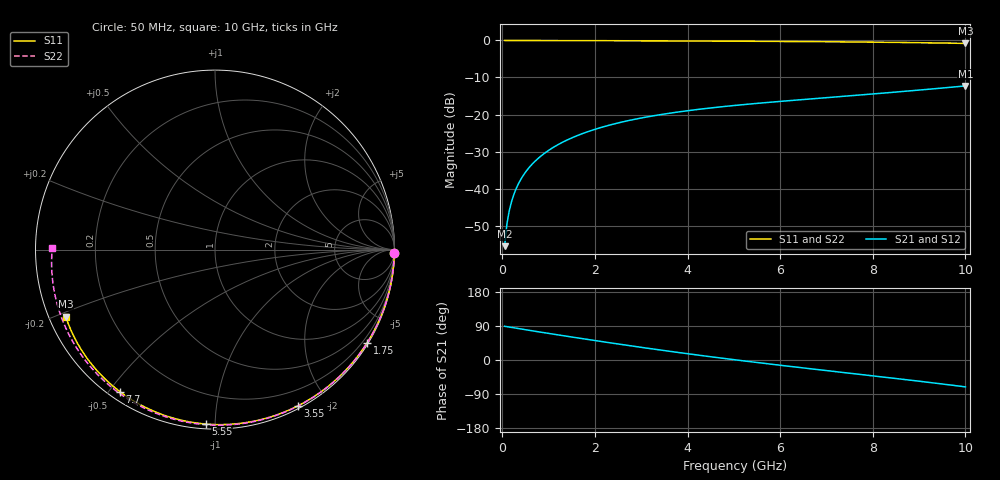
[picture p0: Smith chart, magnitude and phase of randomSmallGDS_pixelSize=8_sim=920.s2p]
! freq	dB(S11)	phase(S11)	dB(S12)	phase(S12)
!  dB(S21)	phase(S21)	dB(S22)	phase(S22)
!S-par simulation data
#  GHz  S  DB  R 50
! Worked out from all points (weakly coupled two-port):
!   200 points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, 50 MHz to 10 GHz, reference 50 ohm
!   highest |S21| = -12.27 dB at 10 GHz (marker M1); lowest = -55.5 dB at 50 MHz (marker M2)
!   lowest |S11| = -0.8 dB at 10 GHz (marker M3), VSWR 21.63, Z = 2.42 - j10.7 ohm
!   |S11| at or under -10 dB: nowhere
!   |S22| runs from -0.9 to 0.0 dB; largest |S21 - S12| = 0
!   S11 on the Smith chart (normalised r, x): 50 MHz: open; 1.75 GHz: 0.04, -3.55; 3.55 GHz: 0.03, -1.66; 5.55 GHz: 0.03, -0.95; 7.7 GHz: 0.03, -0.53; 10 GHz: 0.05, -0.21
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0.05  -0.01 -0.9  -55.50 89.0  -55.50 89.0  -0.01 -1.1
0.1  -0.01 -1.8  -49.49 88.0  -49.49 88.0  -0.01 -2.1
0.15  -0.01 -2.7  -45.97 86.9  -45.97 86.9  -0.01 -3.2
0.2  -0.01 -3.7  -43.47 85.9  -43.47 85.9  -0.01 -4.2
0.25  -0.01 -4.6  -41.54 84.9  -41.54 84.9  -0.01 -5.3
0.35  -0.01 -6.4  -38.63 82.9  -38.63 82.9  -0.01 -7.4
0.5  -0.01 -9.1  -35.56 79.9  -35.56 79.9  -0.01 -10.5
0.7  -0.02 -12.7  -32.68 76.0  -32.68 76.0  -0.02 -14.7
1  -0.03 -18.2  -29.66 70.1  -29.66 70.1  -0.03 -20.9
1.35  -0.04 -24.4  -27.16 63.5  -27.16 63.5  -0.04 -28.1
1.75  -0.05 -31.5  -25.04 56.0  -25.04 56.0  -0.06 -36.2
2.6  -0.09 -46.2  -21.97 40.5  -21.97 40.5  -0.09 -53.0
3.4  -0.12 -59.6  -20.05 26.5  -20.05 26.5  -0.13 -68.2
3.55  -0.13 -62.0  -19.75 24.0  -19.75 24.0  -0.14 -71.0
4.3  -0.16 -74.0  -18.50 11.7  -18.50 11.7  -0.18 -84.6
5.05  -0.20 -85.6  -17.50 0.1  -17.50 0.1  -0.22 -97.7
5.55  -0.24 -93.1  -16.92 -7.3  -16.92 -7.3  -0.26 -106.2
6.7  -0.32 -109.7  -15.74 -23.8  -15.74 -23.8  -0.35 -125.3
7.7  -0.42 -123.8  -14.75 -37.6  -14.75 -37.6  -0.46 -141.6
8.35  -0.51 -132.8  -14.09 -46.7  -14.09 -46.7  -0.55 -152.3
9.2  -0.64 -144.6  -13.18 -58.8  -13.18 -58.8  -0.69 -166.6
10  -0.80 -155.8  -12.27 -70.9  -12.27 -70.9  -0.85 179.3
